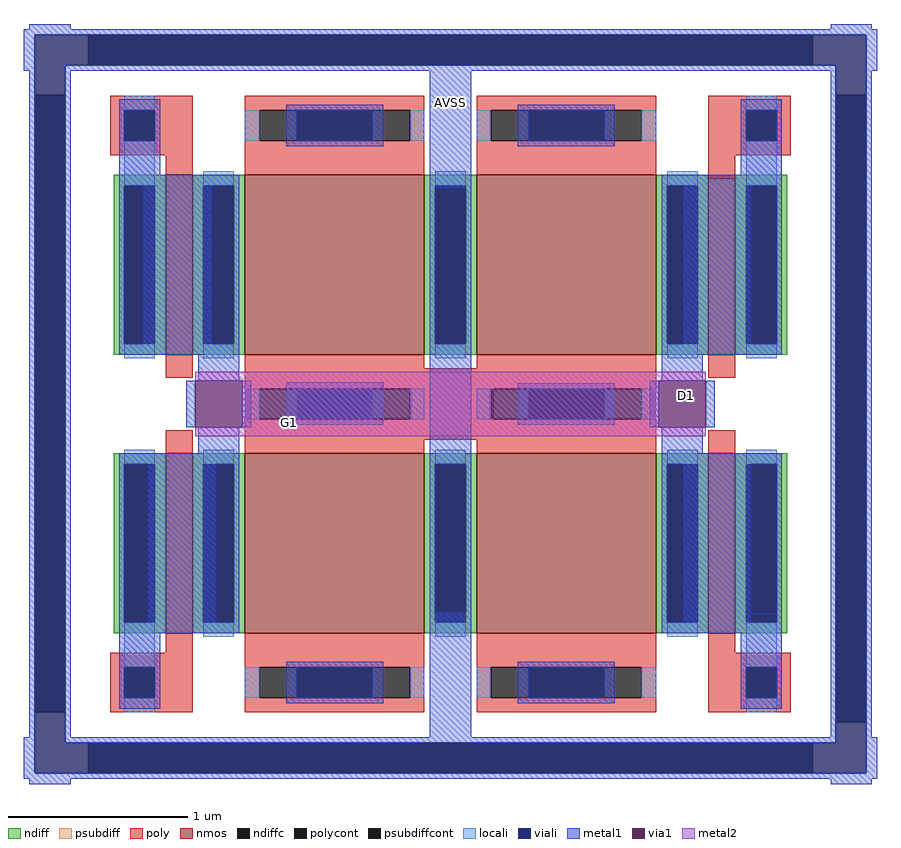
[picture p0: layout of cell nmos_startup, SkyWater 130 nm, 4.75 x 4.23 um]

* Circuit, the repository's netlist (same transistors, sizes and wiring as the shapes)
** sch_path: /home/gilang_fajrul/chipalooza/sky130_gff_ip__bgr_1.2v/magic/nmos_startup.sch
.subckt nmos_startup D1 G1 AVSS
*.PININFO AVSS:B D1:B G1:B
XM1 D1 G1 AVSS AVSS sky130_fd_pr__nfet_01v8 L=1 W=1 nf=1 m=4
XM2 D1 D1 D1 AVSS sky130_fd_pr__nfet_01v8 L=0.15 W=1 nf=1 m=4
.ends
.end

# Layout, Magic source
magic
tech sky130A
magscale 1 2
<< psubdiff >>
rect -192 646 -132 680
rect 674 646 734 680
rect -192 613 -158 646
rect 700 613 734 646
rect -192 -108 -158 -74
rect 700 -108 734 -85
rect -192 -142 -132 -108
rect 674 -142 734 -108
<< psubdiffcont >>
rect -132 646 674 680
rect -192 -74 -158 613
rect 700 -85 734 613
rect -132 -142 674 -108
<< poly >>
rect -108 596 -16 612
rect -108 562 -92 596
rect -58 562 -16 596
rect -108 546 -16 562
rect -46 524 -16 546
rect 558 596 650 612
rect 558 562 600 596
rect 634 562 650 596
rect 558 546 650 562
rect 558 520 588 546
rect 230 229 319 309
rect -46 -8 -16 14
rect -108 -24 -16 -8
rect -108 -58 -92 -24
rect -58 -58 -16 -24
rect -108 -74 -16 -58
rect 558 -24 650 -8
rect 558 -58 600 -24
rect 634 -58 650 -24
rect 558 -74 650 -58
<< polycont >>
rect -92 562 -58 596
rect 600 562 634 596
rect -92 -58 -58 -24
rect 600 -58 634 -24
<< locali >>
rect -92 596 -58 612
rect -92 524 -58 562
rect 600 596 634 612
rect 600 520 634 562
rect -92 -24 -58 26
rect -92 -74 -58 -58
rect 600 -24 634 14
rect 600 -74 634 -58
<< viali >>
rect -192 646 -132 680
rect -132 646 674 680
rect 674 646 734 680
rect -192 613 -158 646
rect -192 -74 -158 613
rect 700 613 734 646
rect -92 562 -58 596
rect 600 562 634 596
rect -92 -58 -58 -24
rect 600 -58 634 -24
rect -192 -108 -158 -74
rect 700 -85 734 613
rect 700 -108 734 -85
rect -192 -142 -132 -108
rect -132 -142 674 -108
rect 674 -142 734 -108
<< metal1 >>
rect -198 686 -152 692
rect 694 686 740 692
rect -204 680 746 686
rect -204 640 -192 680
rect -198 -102 -192 640
rect -204 -142 -192 -102
rect -158 640 700 646
rect -158 -102 -152 640
rect -98 596 -52 608
rect -98 562 -92 596
rect -58 562 -52 596
rect -98 524 -52 562
rect -71 327 5 524
rect 248 509 294 640
rect 594 596 640 608
rect 594 562 600 596
rect 634 562 640 596
rect 594 524 640 562
rect 530 520 640 524
rect 530 327 606 520
rect -71 324 36 327
rect -10 295 36 324
rect -23 243 -13 295
rect 39 243 49 295
rect 88 246 196 293
rect -10 214 36 243
rect -66 211 36 214
rect -66 14 10 211
rect 248 210 294 326
rect 506 324 606 327
rect 506 295 552 324
rect 493 243 503 295
rect 555 243 565 295
rect 506 214 552 243
rect 506 211 606 214
rect -98 -24 -52 14
rect -98 -58 -92 -24
rect -58 -58 -52 -24
rect -98 -70 -52 -58
rect 248 -102 294 37
rect 530 36 606 211
rect 530 35 633 36
rect 530 14 606 35
rect 594 -24 640 14
rect 594 -58 600 -24
rect 634 -58 640 -24
rect 594 -70 640 -58
rect 694 -102 700 640
rect -158 -108 700 -102
rect 734 640 746 680
rect 734 -102 740 640
rect 734 -142 746 -102
rect -204 -148 746 -142
rect -198 -154 -152 -148
rect 694 -154 740 -148
<< via1 >>
rect -13 243 39 295
rect 503 243 555 295
<< metal2 >>
rect -13 295 555 305
rect 39 243 503 295
rect -13 233 555 243
use sky130_fd_pr__nfet_01v8_6H9P4D  sky130_fd_pr__nfet_01v8_6H9P4D_0
transform 1 0 -31 0 1 424
box -73 -126 73 126
use sky130_fd_pr__nfet_01v8_6H9P4D  sky130_fd_pr__nfet_01v8_6H9P4D_1
transform 1 0 573 0 1 424
box -73 -126 73 126
use sky130_fd_pr__nfet_01v8_6H9P4D  sky130_fd_pr__nfet_01v8_6H9P4D_3
transform 1 0 -31 0 1 114
box -73 -126 73 126
use sky130_fd_pr__nfet_01v8_6H9P4D  sky130_fd_pr__nfet_01v8_6H9P4D_4
transform 1 0 573 0 1 114
box -73 -126 73 126
use sky130_fd_pr__nfet_01v8_CJRLGR  sky130_fd_pr__nfet_01v8_CJRLGR_0
transform 1 0 271 0 1 269
box -287 -343 287 343
<< labels >>
flabel metal1 271 605 271 605 0 FreeSans 800 0 0 0 AVSS
port 1 nsew
flabel metal1 92 248 92 248 0 FreeSans 800 0 0 0 G1
port 3 nsew
flabel via1 534 278 534 278 0 FreeSans 800 0 0 0 D1
port 2 nsew
<< end >>

# cell sky130_fd_pr__nfet_01v8_6H9P4D: kit device sky130_fd_pr__nfet_01v8, w 1 l 0.150 m 1 nf 1 diffcov 100 polycov 100 guard 0 glc 1 grc 1 gtc 1 gbc 1 tbcov 100 rlcov 100 topc 0 botc 0 poverlap 0 doverlap 1 lmin 0.15 wmin 0.42 compatible {sky130_fd_pr__nfet_01v8 sky130_fd_pr__nfet_01v8_lvt sky130_fd_bs_flash__special_sonosfet_star sky130_fd_pr__nfet_g5v0d10v5 sky130_fd_pr__nfet_05v0_nvt sky130_fd_pr__nfet_03v3_nvt} full_metal 1 viasrc 100 viadrn 100 viagate 100 viagb 0 viagr 0 viagl 0 viagt 0

# cell sky130_fd_pr__nfet_01v8_CJRLGR: kit device sky130_fd_pr__nfet_01v8, w 1 l 1 m 2 nf 2 diffcov 100 polycov 50 guard 0 glc 1 grc 1 gtc 1 gbc 1 tbcov 100 rlcov 100 topc 0 botc 0 poverlap 1 doverlap 1 lmin 0.15 wmin 0.42 compatible {sky130_fd_pr__nfet_01v8 sky130_fd_pr__nfet_01v8_lvt sky130_fd_bs_flash__special_sonosfet_star sky130_fd_pr__nfet_g5v0d10v5 sky130_fd_pr__nfet_05v0_nvt sky130_fd_pr__nfet_03v3_nvt} full_metal 1 viasrc 100 viadrn 100 viagate 50 viagb 0 viagr 0 viagl 0 viagt 0
